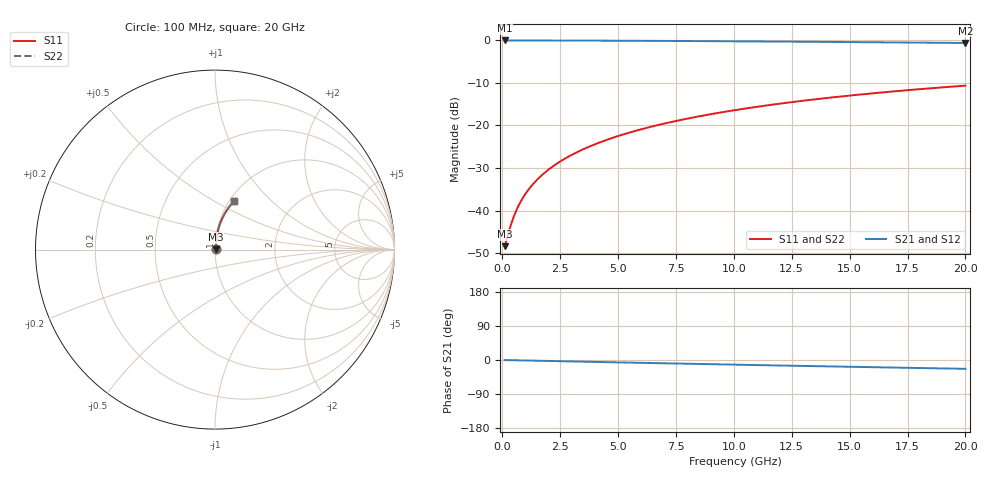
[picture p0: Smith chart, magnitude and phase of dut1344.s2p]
! Touchstone file exported from HFSS 2024.1.0
!  File:  C:/UserFiles/LocalFiles/RDL_TSV_Batchsim/temp_RDL_bottom_1344_1780369986.aedt
!  Generated:  11:15:59 AM Jun  2, 2026
!  Design:  RDL_bottom
!  Project:  temp_RDL_bottom_1344_1780369986
!  Setup:  Setup1
!  Solution:  Sweep
! Variables:
!  dtsv = 10.80580581um
!  hbump = 3um
!  htsv = 92.05um
!  ldown = 261.25um
!  lrdl = 100um
!  p = 40
!  p1 = 44.24um
!  rhole = 1um
!  t = 450um
!  tdown = 2.28um
!  trdl = 3.915915916um
!  wdown = 12.52um
!  wrdl = 20um
# GHz S MA R 50.000000
! Terminal data exported
! Port[1] = RDL1_T1
! Port[2] = RDL1_T2
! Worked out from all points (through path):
!   200 points, 100 MHz to 20 GHz, reference 50 ohm
!   highest |S21| = -0.03 dB at 100 MHz (marker M1); lowest = -0.6 dB at 20 GHz (marker M2)
!   group delay of S21, straight-line fit = 3.23 ps
!   lowest |S11| = -48.4 dB at 100 MHz (marker M3), VSWR 1.01, Z = 50.3 + j0.157 ohm
!   |S11| at or under -10 dB: start of sweep to end of sweep
!   |S22| runs from -48.4 to -10.7 dB; largest |S21 - S12| = 4.5e-15
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0.1  0.003809 24.1  0.9965 -0.1  0.9965 -0.1  0.003809 24.1
! Gamma 0 0 0 0
! Port Impedance 50 0 50 0
0.4  0.007161 59.7  0.9964 -0.5  0.9964 -0.5  0.007161 59.7
0.5  0.008537 64.4  0.9963 -0.7  0.9963 -0.7  0.008537 64.4
0.6  0.009946 67.8  0.9962 -0.8  0.9962 -0.8  0.009946 67.8
0.7  0.01137 70.3  0.9961 -0.9  0.9961 -0.9  0.01137 70.3
0.9  0.01425 73.7  0.996 -1.2  0.996 -1.2  0.01425 73.7
1.2  0.0186 76.9  0.9957 -1.5  0.9957 -1.5  0.0186 76.9
1.4  0.02151 78.2  0.9955 -1.8  0.9955 -1.8  0.02151 78.2
1.7  0.0259 79.6  0.9952 -2.2  0.9952 -2.2  0.0259 79.6
2.2  0.03325 81.1  0.9947 -2.8  0.9947 -2.8  0.03325 81.1
2.8  0.04212 82.0  0.9939 -3.6  0.9939 -3.6  0.04212 82.0
3.5  0.05253 82.4  0.9928 -4.4  0.9928 -4.4  0.05253 82.5
4.2  0.06299 82.5  0.9914 -5.3  0.9914 -5.3  0.06299 82.5
5  0.075 82.4  0.9897 -6.3  0.9897 -6.3  0.075 82.4
5.9  0.08856 82.0  0.9875 -7.4  0.9875 -7.4  0.08856 82.0
6.8  0.1022 81.4  0.985 -8.5  0.985 -8.5  0.1022 81.4
8.3  0.1249 80.3  0.9804 -10.3  0.9804 -10.3  0.1249 80.3
10.1  0.152 78.7  0.9742 -12.4  0.9742 -12.4  0.152 78.7
11.7  0.176 77.1  0.9681 -14.2  0.9681 -14.2  0.176 77.1
13.4  0.2011 75.3  0.9612 -16.1  0.9612 -16.1  0.2011 75.3
16.7  0.2483 71.8  0.9466 -19.8  0.9466 -19.8  0.2484 71.9
20  0.2934 68.4  0.9308 -23.3  0.9308 -23.3  0.2934 68.4
